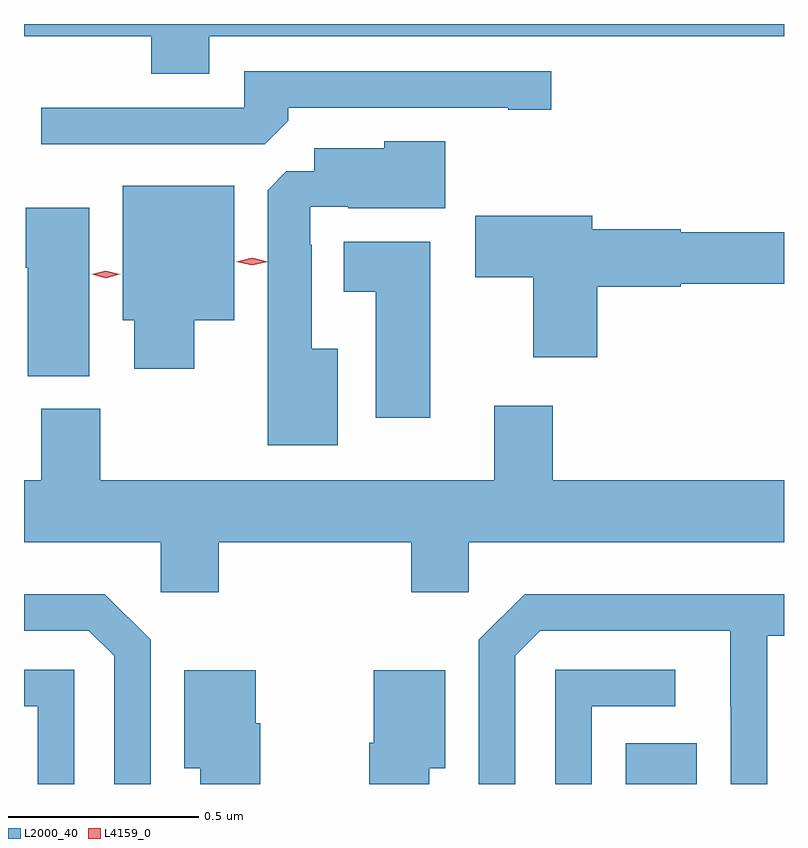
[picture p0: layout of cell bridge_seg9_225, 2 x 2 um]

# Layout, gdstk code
import gdstk
lib = gdstk.Library(unit=1e-6, precision=1e-09)
def R(c, l, rs):  # rectangles x0, y0, x1, y1
    for r in rs: c.add(gdstk.rectangle(r[:2], r[2:], *l))
def P(c, l, *ps):  # polygons
    for p in ps: c.add(gdstk.Polygon(p, *l))
L2000_40 = (2000, 40)
L4159_0 = (4159, 0)

bridge_seg9_225 = lib.new_cell('bridge_seg9_225')
R(bridge_seg9_225, L2000_40, [(191.105,1203.776,191.293,1203.883)])
P(bridge_seg9_225, L2000_40, [(190.009,1205.744),(191.522,1205.744),(191.522,1205.776),(189.522,1205.776),(189.522,1205.744),(189.857,1205.744),(189.857,1205.645),(190.009,1205.645)],
  [(190.217,1205.522),(190.217,1205.556),(190.796,1205.556),(190.796,1205.551),(190.909,1205.551),(190.909,1205.652),(190.101,1205.652),(190.101,1205.556),(189.567,1205.556),(189.567,1205.46),(190.155,1205.46)],
  [(190.348,1204.921),(190.279,1204.921),(190.279,1205.195),(190.275,1205.195),(190.275,1205.295),(190.375,1205.295),(190.375,1205.291),(190.63,1205.291),(190.63,1205.467),(190.47,1205.467),(190.47,1205.449),(190.286,1205.449),(190.286,1205.388),(190.212,1205.388),(190.163,1205.339),(190.163,1204.667),(190.348,1204.667)],
  [(189.97,1204.997),(190.075,1204.997),(190.075,1205.35),(189.782,1205.35),(189.782,1204.997),(189.812,1204.997),(189.812,1204.869),(189.97,1204.869)],
  [(189.694,1205.293),(189.527,1205.293),(189.527,1205.135),(189.532,1205.135),(189.532,1204.849),(189.694,1204.849)],
  [(191.03,1205.084),(191.25,1205.084),(191.25,1205.092),(191.522,1205.092),(191.522,1205.228),(191.25,1205.228),(191.25,1205.236),(191.017,1205.236),(191.017,1205.272),(190.71,1205.272),(190.71,1205.11),(190.862,1205.11),(190.862,1204.899),(191.03,1204.899)],
  [(190.591,1205.203),(190.364,1205.203),(190.364,1205.072),(190.448,1205.072),(190.448,1204.74),(190.591,1204.74)],
  [(190.034,1204.412),(190.541,1204.412),(190.541,1204.281),(190.692,1204.281),(190.692,1204.412),(191.522,1204.412),(191.522,1204.576),(190.913,1204.576),(190.913,1204.771),(190.76,1204.771),(190.76,1204.576),(189.723,1204.576),(189.723,1204.764),(189.568,1204.764),(189.568,1204.576),(189.522,1204.576),(189.522,1204.412),(189.882,1204.412),(189.882,1204.281),(190.034,1204.281)],
  [(190.815,1204.113),(190.881,1204.179),(191.381,1204.179),(191.381,1203.979),(191.382,1203.979),(191.382,1203.776),(191.478,1203.776),(191.478,1204.166),(191.522,1204.166),(191.522,1204.276),(190.84,1204.276),(190.719,1204.155),(190.719,1203.776),(190.815,1203.776)],
  [(189.855,1204.155),(189.734,1204.276),(189.522,1204.276),(189.522,1204.179),(189.693,1204.179),(189.759,1204.113),(189.759,1203.776),(189.855,1203.776)],
  [(191.016,1203.981),(191.236,1203.981),(191.236,1204.077),(190.92,1204.077),(190.92,1203.776),(191.016,1203.776)],
  [(189.654,1204.077),(189.522,1204.077),(189.522,1203.981),(189.558,1203.981),(189.558,1203.776),(189.654,1203.776)],
  [(190.588,1203.818),(190.63,1203.818),(190.63,1204.075),(190.442,1204.075),(190.442,1203.885),(190.43,1203.885),(190.43,1203.776),(190.588,1203.776)],
  [(190.144,1203.936),(190.132,1203.936),(190.132,1204.075),(189.944,1204.075),(189.944,1203.818),(189.986,1203.818),(189.986,1203.776),(190.144,1203.776)])
P(bridge_seg9_225, L4159_0, [(190.123,1205.141),(190.081,1205.151),(190.081,1205.151),(190.081,1205.151),(190.123,1205.161),(190.164,1205.151),(190.164,1205.151),(190.164,1205.151)],
  [(189.737,1205.107),(189.7,1205.117),(189.699,1205.117),(189.7,1205.117),(189.737,1205.127),(189.774,1205.117),(189.775,1205.117),(189.774,1205.117)])

lib.write_gds('bridge_seg9_225.gds')
